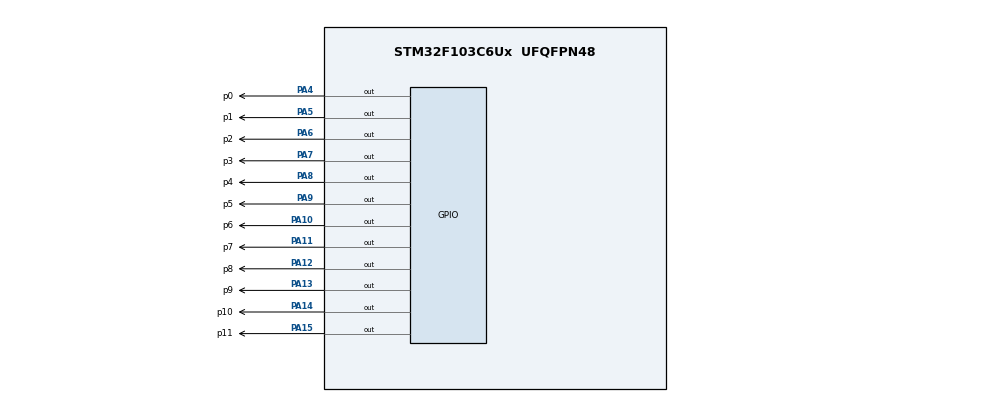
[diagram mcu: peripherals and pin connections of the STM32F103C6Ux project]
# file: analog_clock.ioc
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Mcu.Family=STM32F1
Mcu.Name=STM32F103C6Ux
Mcu.Package=UFQFPN48
NVIC.PriorityGroup=NVIC_PRIORITYGROUP_4
PA10.GPIO_Label=p6
PA10.Signal=GPIO_Output
PA11.GPIO_Label=p7
PA11.Signal=GPIO_Output
PA12.GPIO_Label=p8
PA12.Signal=GPIO_Output
PA13.GPIO_Label=p9
PA13.Signal=GPIO_Output
PA14.GPIO_Label=p10
PA14.Signal=GPIO_Output
PA15.GPIO_Label=p11
PA15.Signal=GPIO_Output
PA4.GPIO_Label=p0
PA4.Signal=GPIO_Output
PA5.GPIO_Label=p1
PA5.Signal=GPIO_Output
PA6.GPIO_Label=p2
PA6.Signal=GPIO_Output
PA7.GPIO_Label=p3
PA7.Signal=GPIO_Output
PA8.GPIO_Label=p4
PA8.Signal=GPIO_Output
PA9.GPIO_Label=p5
PA9.Signal=GPIO_Output
ProjectManager.HeapSize=0x200
ProjectManager.StackSize=0x400
ProjectManager.TargetToolchain=STM32CubeIDE
RCC.APB1Freq_Value=8000000
RCC.APB2Freq_Value=8000000
VP_SYS_VS_ND.Mode=No_Debug
board=custom

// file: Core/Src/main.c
/* USER CODE BEGIN Header */
/**
  ******************************************************************************
  * @file           : main.c
  * @brief          : Main program body
  ******************************************************************************
  * @attention
  *
  * <h2><center>&copy; Copyright (c) 2024 STMicroelectronics.
  * All rights reserved.</center></h2>
  *
  * This software component is licensed by ST under BSD 3-Clause license,
  * the "License"; You may not use this file except in compliance with the
  * License. You may obtain a copy of the License at:
  *                        opensource.org/licenses/BSD-3-Clause
  *
  ******************************************************************************
  */
/* USER CODE END Header */
#include "main.h"

void SystemClock_Config(void);
static void MX_GPIO_Init(void);

int main(void)
{

  /* MCU Configuration--------------------------------------------------------*/

  /* Reset of all peripherals, Initializes the Flash interface and the Systick. */
  HAL_Init();

  /* Configure the system clock */
  SystemClock_Config();

  /* Initialize all configured peripherals */
  MX_GPIO_Init();

  /* Infinite loop */
  /* USER CODE BEGIN WHILE */

  void analog_clock_display() {
	  HAL_GPIO_WritePin(GPIOA, GPIO_PIN_4, RESET);
	  HAL_GPIO_WritePin(GPIOA, GPIO_PIN_5, SET);
	  HAL_GPIO_WritePin(GPIOA, GPIO_PIN_6, SET);
	  HAL_GPIO_WritePin(GPIOA, GPIO_PIN_7, SET);
	  HAL_GPIO_WritePin(GPIOA, GPIO_PIN_8, SET);
	  HAL_GPIO_WritePin(GPIOA, GPIO_PIN_9, SET);
	  HAL_GPIO_WritePin(GPIOA, GPIO_PIN_10, SET);
	  HAL_GPIO_WritePin(GPIOA, GPIO_PIN_11, SET);
	  HAL_GPIO_WritePin(GPIOA, GPIO_PIN_12, SET);
	  HAL_GPIO_WritePin(GPIOA, GPIO_PIN_13, SET);
	  HAL_GPIO_WritePin(GPIOA, GPIO_PIN_14, SET);
	  HAL_GPIO_WritePin(GPIOA, GPIO_PIN_15, SET);

	  HAL_Delay(500);	///////////////////////////////////////////////////////

	  HAL_GPIO_WritePin(GPIOA, GPIO_PIN_4, SET);
	  HAL_GPIO_WritePin(GPIOA, GPIO_PIN_5, RESET);
	  HAL_GPIO_WritePin(GPIOA, GPIO_PIN_6, SET);
	  HAL_GPIO_WritePin(GPIOA, GPIO_PIN_7, SET);
	  HAL_GPIO_WritePin(GPIOA, GPIO_PIN_8, SET);
	  HAL_GPIO_WritePin(GPIOA, GPIO_PIN_9, SET);
	  HAL_GPIO_WritePin(GPIOA, GPIO_PIN_10, SET);
	  HAL_GPIO_WritePin(GPIOA, GPIO_PIN_11, SET);
	  HAL_GPIO_WritePin(GPIOA, GPIO_PIN_12, SET);
	  HAL_GPIO_WritePin(GPIOA, GPIO_PIN_13, SET);
	  HAL_GPIO_WritePin(GPIOA, GPIO_PIN_14, SET);
	  HAL_GPIO_WritePin(GPIOA, GPIO_PIN_15, SET);

	  HAL_Delay(500);	///////////////////////////////////////////////////////	2

	  HAL_GPIO_WritePin(GPIOA, GPIO_PIN_4, SET);
	  HAL_GPIO_WritePin(GPIOA, GPIO_PIN_5, SET);
	  HAL_GPIO_WritePin(GPIOA, GPIO_PIN_6, RESET);
	  HAL_GPIO_WritePin(GPIOA, GPIO_PIN_7, SET);
	  HAL_GPIO_WritePin(GPIOA, GPIO_PIN_8, SET);
	  HAL_GPIO_WritePin(GPIOA, GPIO_PIN_9, SET);
	  HAL_GPIO_WritePin(GPIOA, GPIO_PIN_10, SET);
	  HAL_GPIO_WritePin(GPIOA, GPIO_PIN_11, SET);
	  HAL_GPIO_WritePin(GPIOA, GPIO_PIN_12, SET);
	  HAL_GPIO_WritePin(GPIOA, GPIO_PIN_13, SET);
	  HAL_GPIO_WritePin(GPIOA, GPIO_PIN_14, SET);
	  HAL_GPIO_WritePin(GPIOA, GPIO_PIN_15, SET);

	  HAL_Delay(500);	///////////////////////////////////////////////////////	3

	  HAL_GPIO_WritePin(GPIOA, GPIO_PIN_4, SET);
	  HAL_GPIO_WritePin(GPIOA, GPIO_PIN_5, SET);
	  HAL_GPIO_WritePin(GPIOA, GPIO_PIN_6, SET);
	  HAL_GPIO_WritePin(GPIOA, GPIO_PIN_7, RESET);
	  HAL_GPIO_WritePin(GPIOA, GPIO_PIN_8, SET);
	  HAL_GPIO_WritePin(GPIOA, GPIO_PIN_9, SET);
	  HAL_GPIO_WritePin(GPIOA, GPIO_PIN_10, SET);
	  HAL_GPIO_WritePin(GPIOA, GPIO_PIN_11, SET);
	  HAL_GPIO_WritePin(GPIOA, GPIO_PIN_12, SET);
	  HAL_GPIO_WritePin(GPIOA, GPIO_PIN_13, SET);
	  HAL_GPIO_WritePin(GPIOA, GPIO_PIN_14, SET);
	  HAL_GPIO_WritePin(GPIOA, GPIO_PIN_15, SET);

	  HAL_Delay(500);	///////////////////////////////////////////////////////	4

	  HAL_GPIO_WritePin(GPIOA, GPIO_PIN_4, SET);
	  HAL_GPIO_WritePin(GPIOA, GPIO_PIN_5, SET);
	  HAL_GPIO_WritePin(GPIOA, GPIO_PIN_6, SET);
	  HAL_GPIO_WritePin(GPIOA, GPIO_PIN_7, SET);
	  HAL_GPIO_WritePin(GPIOA, GPIO_PIN_8, RESET);
	  HAL_GPIO_WritePin(GPIOA, GPIO_PIN_9, SET);
	  HAL_GPIO_WritePin(GPIOA, GPIO_PIN_10, SET);
	  HAL_GPIO_WritePin(GPIOA, GPIO_PIN_11, SET);
	  HAL_GPIO_WritePin(GPIOA, GPIO_PIN_12, SET);
	  HAL_GPIO_WritePin(GPIOA, GPIO_PIN_13, SET);
	  HAL_GPIO_WritePin(GPIOA, GPIO_PIN_14, SET);
	  HAL_GPIO_WritePin(GPIOA, GPIO_PIN_15, SET);

	  HAL_Delay(500);	///////////////////////////////////////////////////////	5

	  HAL_GPIO_WritePin(GPIOA, GPIO_PIN_4, SET);
	  HAL_GPIO_WritePin(GPIOA, GPIO_PIN_5, SET);
	  HAL_GPIO_WritePin(GPIOA, GPIO_PIN_6, SET);
	  HAL_GPIO_WritePin(GPIOA, GPIO_PIN_7, SET);
	  HAL_GPIO_WritePin(GPIOA, GPIO_PIN_8, SET);
	  HAL_GPIO_WritePin(GPIOA, GPIO_PIN_9, RESET);
	  HAL_GPIO_WritePin(GPIOA, GPIO_PIN_10, SET);
	  HAL_GPIO_WritePin(GPIOA, GPIO_PIN_11, SET);
	  HAL_GPIO_WritePin(GPIOA, GPIO_PIN_12, SET);
	  HAL_GPIO_WritePin(GPIOA, GPIO_PIN_13, SET);
	  HAL_GPIO_WritePin(GPIOA, GPIO_PIN_14, SET);
	  HAL_GPIO_WritePin(GPIOA, GPIO_PIN_15, SET);

	  HAL_Delay(500);	///////////////////////////////////////////////////////	6

	  HAL_GPIO_WritePin(GPIOA, GPIO_PIN_4, SET);
	  HAL_GPIO_WritePin(GPIOA, GPIO_PIN_5, SET);
	  HAL_GPIO_WritePin(GPIOA, GPIO_PIN_6, SET);
	  HAL_GPIO_WritePin(GPIOA, GPIO_PIN_7, SET);
	  HAL_GPIO_WritePin(GPIOA, GPIO_PIN_8, SET);
	  HAL_GPIO_WritePin(GPIOA, GPIO_PIN_9, SET);
	  HAL_GPIO_WritePin(GPIOA, GPIO_PIN_10, RESET);
	  HAL_GPIO_WritePin(GPIOA, GPIO_PIN_11, SET);
	  HAL_GPIO_WritePin(GPIOA, GPIO_PIN_12, SET);
	  HAL_GPIO_WritePin(GPIOA, GPIO_PIN_13, SET);
	  HAL_GPIO_WritePin(GPIOA, GPIO_PIN_14, SET);
	  HAL_GPIO_WritePin(GPIOA, GPIO_PIN_15, SET);

	  HAL_Delay(500);	///////////////////////////////////////////////////////	7

	  HAL_GPIO_WritePin(GPIOA, GPIO_PIN_4, SET);
	  HAL_GPIO_WritePin(GPIOA, GPIO_PIN_5, SET);
	  HAL_GPIO_WritePin(GPIOA, GPIO_PIN_6, SET);
	  HAL_GPIO_WritePin(GPIOA, GPIO_PIN_7, SET);
	  HAL_GPIO_WritePin(GPIOA, GPIO_PIN_8, SET);
	  HAL_GPIO_WritePin(GPIOA, GPIO_PIN_9, SET);
	  HAL_GPIO_WritePin(GPIOA, GPIO_PIN_10, SET);
	  HAL_GPIO_WritePin(GPIOA, GPIO_PIN_11, RESET);
	  HAL_GPIO_WritePin(GPIOA, GPIO_PIN_12, SET);
	  HAL_GPIO_WritePin(GPIOA, GPIO_PIN_13, SET);
	  HAL_GPIO_WritePin(GPIOA, GPIO_PIN_14, SET);
	  HAL_GPIO_WritePin(GPIOA, GPIO_PIN_15, SET);

	  HAL_Delay(500);	///////////////////////////////////////////////////////	8

	  HAL_GPIO_WritePin(GPIOA, GPIO_PIN_4, SET);
	  HAL_GPIO_WritePin(GPIOA, GPIO_PIN_5, SET);
	  HAL_GPIO_WritePin(GPIOA, GPIO_PIN_6, SET);
	  HAL_GPIO_WritePin(GPIOA, GPIO_PIN_7, SET);
	  HAL_GPIO_WritePin(GPIOA, GPIO_PIN_8, SET);
	  HAL_GPIO_WritePin(GPIOA, GPIO_PIN_9, SET);
	  HAL_GPIO_WritePin(GPIOA, GPIO_PIN_10, SET);
	  HAL_GPIO_WritePin(GPIOA, GPIO_PIN_11, SET);
	  HAL_GPIO_WritePin(GPIOA, GPIO_PIN_12, RESET);
	  HAL_GPIO_WritePin(GPIOA, GPIO_PIN_13, SET);
	  HAL_GPIO_WritePin(GPIOA, GPIO_PIN_14, SET);
	  HAL_GPIO_WritePin(GPIOA, GPIO_PIN_15, SET);

	  HAL_Delay(500);	///////////////////////////////////////////////////////	9

	  HAL_GPIO_WritePin(GPIOA, GPIO_PIN_4, SET);
	  HAL_GPIO_WritePin(GPIOA, GPIO_PIN_5, SET);
	  HAL_GPIO_WritePin(GPIOA, GPIO_PIN_6, SET);
	  HAL_GPIO_WritePin(GPIOA, GPIO_PIN_7, SET);
	  HAL_GPIO_WritePin(GPIOA, GPIO_PIN_8, SET);
	  HAL_GPIO_WritePin(GPIOA, GPIO_PIN_9, SET);
	  HAL_GPIO_WritePin(GPIOA, GPIO_PIN_10, SET);
	  HAL_GPIO_WritePin(GPIOA, GPIO_PIN_11, SET);
	  HAL_GPIO_WritePin(GPIOA, GPIO_PIN_12, SET);
	  HAL_GPIO_WritePin(GPIOA, GPIO_PIN_13, RESET);
	  HAL_GPIO_WritePin(GPIOA, GPIO_PIN_14, SET);
	  HAL_GPIO_WritePin(GPIOA, GPIO_PIN_15, SET);

	  HAL_Delay(500);	///////////////////////////////////////////////////////	10

	  HAL_GPIO_WritePin(GPIOA, GPIO_PIN_4, SET);
	  HAL_GPIO_WritePin(GPIOA, GPIO_PIN_5, SET);
	  HAL_GPIO_WritePin(GPIOA, GPIO_PIN_6, SET);
	  HAL_GPIO_WritePin(GPIOA, GPIO_PIN_7, SET);
	  HAL_GPIO_WritePin(GPIOA, GPIO_PIN_8, SET);
	  HAL_GPIO_WritePin(GPIOA, GPIO_PIN_9, SET);
	  HAL_GPIO_WritePin(GPIOA, GPIO_PIN_10, SET);
	  HAL_GPIO_WritePin(GPIOA, GPIO_PIN_11, SET);
	  HAL_GPIO_WritePin(GPIOA, GPIO_PIN_12, SET);
	  HAL_GPIO_WritePin(GPIOA, GPIO_PIN_13, SET);
	  HAL_GPIO_WritePin(GPIOA, GPIO_PIN_14, RESET);
	  HAL_GPIO_WritePin(GPIOA, GPIO_PIN_15, SET);

	  HAL_Delay(500);	///////////////////////////////////////////////////////	11

	  HAL_GPIO_WritePin(GPIOA, GPIO_PIN_4, SET);
	  HAL_GPIO_WritePin(GPIOA, GPIO_PIN_5, SET);
	  HAL_GPIO_WritePin(GPIOA, GPIO_PIN_6, SET);
	  HAL_GPIO_WritePin(GPIOA, GPIO_PIN_7, SET);
	  HAL_GPIO_WritePin(GPIOA, GPIO_PIN_8, SET);
	  HAL_GPIO_WritePin(GPIOA, GPIO_PIN_9, SET);
	  HAL_GPIO_WritePin(GPIOA, GPIO_PIN_10, SET);
	  HAL_GPIO_WritePin(GPIOA, GPIO_PIN_11, SET);
	  HAL_GPIO_WritePin(GPIOA, GPIO_PIN_12, SET);
	  HAL_GPIO_WritePin(GPIOA, GPIO_PIN_13, SET);
	  HAL_GPIO_WritePin(GPIOA, GPIO_PIN_14, SET);
	  HAL_GPIO_WritePin(GPIOA, GPIO_PIN_15, RESET);

	  HAL_Delay(500);

  }

  void clearAllClock(){
	  HAL_GPIO_WritePin(GPIOA, GPIO_PIN_4, RESET);
	  HAL_GPIO_WritePin(GPIOA, GPIO_PIN_5, RESET);
	  HAL_GPIO_WritePin(GPIOA, GPIO_PIN_6, RESET);
	  HAL_GPIO_WritePin(GPIOA, GPIO_PIN_7, RESET);
	  HAL_GPIO_WritePin(GPIOA, GPIO_PIN_8, RESET);
	  HAL_GPIO_WritePin(GPIOA, GPIO_PIN_9, RESET);
	  HAL_GPIO_WritePin(GPIOA, GPIO_PIN_10, RESET);
	  HAL_GPIO_WritePin(GPIOA, GPIO_PIN_11, RESET);
	  HAL_GPIO_WritePin(GPIOA, GPIO_PIN_12, RESET);
	  HAL_GPIO_WritePin(GPIOA, GPIO_PIN_13, RESET);
	  HAL_GPIO_WritePin(GPIOA, GPIO_PIN_14, RESET);
	  HAL_GPIO_WritePin(GPIOA, GPIO_PIN_15, RESET);
  }

  void set_clock_number(int num){
  	if(num == 0){
  		  HAL_GPIO_WritePin(GPIOA, GPIO_PIN_4, SET);
  	}else if (num == 1){
  		  HAL_GPIO_WritePin(GPIOA, GPIO_PIN_5, SET);
  	}else if (num == 2){
  		  HAL_GPIO_WritePin(GPIOA, GPIO_PIN_6, SET);
  	}else if (num == 3){
  		  HAL_GPIO_WritePin(GPIOA, GPIO_PIN_7, SET);
  	}else if (num == 4){
  		  HAL_GPIO_WritePin(GPIOA, GPIO_PIN_8, SET);
  	}else if (num == 5){
  		  HAL_GPIO_WritePin(GPIOA, GPIO_PIN_9, SET);
  	}else if (num == 6){
  		  HAL_GPIO_WritePin(GPIOA, GPIO_PIN_10, SET);
  	}else if (num == 7){
  		  HAL_GPIO_WritePin(GPIOA, GPIO_PIN_11, SET);
  	}else if (num == 8){
  		  HAL_GPIO_WritePin(GPIOA, GPIO_PIN_12, SET);
  	}else if (num == 9){
  		  HAL_GPIO_WritePin(GPIOA, GPIO_PIN_13, SET);
  	}else if (num == 10){
  		  HAL_GPIO_WritePin(GPIOA, GPIO_PIN_14, SET);
  	}else {
  		  HAL_GPIO_WritePin(GPIOA, GPIO_PIN_15, SET);
  	}
  }

  void clear_clock_number(int num){
  	if(num == 0){
  		  HAL_GPIO_WritePin(GPIOA, GPIO_PIN_4, RESET);
  	}else if (num == 1){
  		  HAL_GPIO_WritePin(GPIOA, GPIO_PIN_5, RESET);
  	}else if (num == 2){
  		  HAL_GPIO_WritePin(GPIOA, GPIO_PIN_6, RESET);
  	}else if (num == 3){
  		  HAL_GPIO_WritePin(GPIOA, GPIO_PIN_7, RESET);
  	}else if (num == 4){
  		  HAL_GPIO_WritePin(GPIOA, GPIO_PIN_8, RESET);
  	}else if (num == 5){
  		  HAL_GPIO_WritePin(GPIOA, GPIO_PIN_9, RESET);
  	}else if (num == 6){
  		  HAL_GPIO_WritePin(GPIOA, GPIO_PIN_10, RESET);
  	}else if (num == 7){
  		  HAL_GPIO_WritePin(GPIOA, GPIO_PIN_11, RESET);
  	}else if (num == 8){
  		  HAL_GPIO_WritePin(GPIOA, GPIO_PIN_12, RESET);
  	}else if (num == 9){
  		  HAL_GPIO_WritePin(GPIOA, GPIO_PIN_13, RESET);
  	}else if (num == 10){
  		  HAL_GPIO_WritePin(GPIOA, GPIO_PIN_14, RESET);
  	}else {
  		  HAL_GPIO_WritePin(GPIOA, GPIO_PIN_15, RESET);
  	}
  }

  int count = 0;

  int h = 0;
  int m = 40;
  int s = 40;

  while (1)
  {
	  clear_clock_number(h);
	  clear_clock_number(m/5);
	  clear_clock_number(s/5);

	  if (s >= 60) {
		  s = 0;
		  m += 1;
	  }
	  if (m >= 60) {
		  m = 0;
		  h += 1;
	  }
	  if (h >= 12)
		  h = 0;

	  s += 1;

	  set_clock_number(h);
	  set_clock_number(m/5);
	  set_clock_number(s/5);

	  HAL_Delay(20);

//	  analog_clock_display();
//	  HAL_Delay(1000);
//	  clearAllClock();
//	  HAL_Delay(1000);

    /* USER CODE END WHILE */

  }
}

void SystemClock_Config(void)
{
  RCC_OscInitTypeDef RCC_OscInitStruct = {0};
  RCC_ClkInitTypeDef RCC_ClkInitStruct = {0};

  /** Initializes the RCC Oscillators according to the specified parameters
  * in the RCC_OscInitTypeDef structure.
  */
  RCC_OscInitStruct.OscillatorType = RCC_OSCILLATORTYPE_HSI;
  RCC_OscInitStruct.HSIState = RCC_HSI_ON;
  RCC_OscInitStruct.HSICalibrationValue = RCC_HSICALIBRATION_DEFAULT;
  RCC_OscInitStruct.PLL.PLLState = RCC_PLL_NONE;
  if (HAL_RCC_OscConfig(&RCC_OscInitStruct) != HAL_OK)
  {
    Error_Handler();
  }
  /** Initializes the CPU, AHB and APB buses clocks
  */
  RCC_ClkInitStruct.ClockType = RCC_CLOCKTYPE_HCLK|RCC_CLOCKTYPE_SYSCLK
                              |RCC_CLOCKTYPE_PCLK1|RCC_CLOCKTYPE_PCLK2;
  RCC_ClkInitStruct.SYSCLKSource = RCC_SYSCLKSOURCE_HSI;
  RCC_ClkInitStruct.AHBCLKDivider = RCC_SYSCLK_DIV1;
  RCC_ClkInitStruct.APB1CLKDivider = RCC_HCLK_DIV1;
  RCC_ClkInitStruct.APB2CLKDivider = RCC_HCLK_DIV1;

  if (HAL_RCC_ClockConfig(&RCC_ClkInitStruct, FLASH_LATENCY_0) != HAL_OK)
  {
    Error_Handler();
  }
}

static void MX_GPIO_Init(void)
{
  GPIO_InitTypeDef GPIO_InitStruct = {0};

  /* GPIO Ports Clock Enable */
  __HAL_RCC_GPIOA_CLK_ENABLE();

  /*Configure GPIO pin Output Level */
  HAL_GPIO_WritePin(GPIOA, p0_Pin|p1_Pin|p2_Pin|p3_Pin
                          |p4_Pin|p5_Pin|p6_Pin|p7_Pin
                          |p8_Pin|p9_Pin|p10_Pin|p11_Pin, GPIO_PIN_RESET);

  /*Configure GPIO pins : p0_Pin p1_Pin p2_Pin p3_Pin
                           p4_Pin p5_Pin p6_Pin p7_Pin
                           p8_Pin p9_Pin p10_Pin p11_Pin */
  GPIO_InitStruct.Pin = p0_Pin|p1_Pin|p2_Pin|p3_Pin
                          |p4_Pin|p5_Pin|p6_Pin|p7_Pin
                          |p8_Pin|p9_Pin|p10_Pin|p11_Pin;
  GPIO_InitStruct.Mode = GPIO_MODE_OUTPUT_PP;
  GPIO_InitStruct.Pull = GPIO_NOPULL;
  GPIO_InitStruct.Speed = GPIO_SPEED_FREQ_LOW;
  HAL_GPIO_Init(GPIOA, &GPIO_InitStruct);

}

void Error_Handler(void)
{
  __disable_irq();
  while (1)
  {
  }
}

/************************ (C) COPYRIGHT STMicroelectronics *****END OF FILE****/
